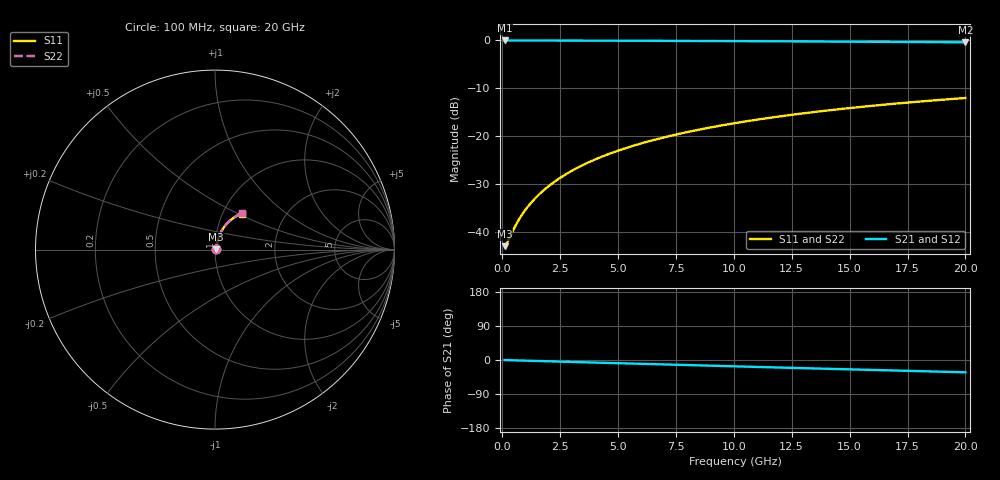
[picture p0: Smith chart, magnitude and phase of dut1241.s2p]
! Touchstone file exported from HFSS 2026.1.0
!  File:  C:/ffzhzh/LocalFiles/Ansys_Project_Files/temp_train_TMRDL_1241_1783163678_18472.aedt
!  Generated:  07:15:45 PM Jul  4, 2026
!  Design:  TMRDL
!  Project:  temp_train_TMRDL_1241_1783163678_18472
! Variables:
!  h_bsmrdl = 2um
!  h_ox = 20um
!  h_rdl = 5um
!  h_sub = 80um
!  h_tmrdl = 2.58um
!  h_tsv = 80um
!  h_via = 3um
!  l_bsmrdl = 300um
!  l_sub = 923.82um
!  l_tmrdl = 523.82um
!  m_sub = 200um
!  pitch = 19.35um
!  r_tsv = 6um
!  s_tmrdl = 10um
!  w_bsmrdl = 18um
!  w_sub = 500um
!  w_tmrdl = 10.29um
!  x_tsv_center1 = 528.965um
!  x_tsv_center2 = 846.965um
!  x_tsv_center3 = 1381.075um
!  x_tsv_center4 = 1699.075um
!  x_tsv_center5 = 2233.185um
!  x_tsv_center6 = 2551.185um
# GHz S MA R 50.000000
! Terminal data exported
! Port[1] = TM_RDL1_1_T1
! Port[2] = TM_RDL1_1_T2
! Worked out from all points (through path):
!   200 points, 100 MHz to 20 GHz, reference 50 ohm
!   highest |S21| = -0.06 dB at 100 MHz (marker M1); lowest = -0.4 dB at 20 GHz (marker M2)
!   group delay of S21, straight-line fit = 4.51 ps
!   lowest |S11| = -42.8 dB at 100 MHz (marker M3), VSWR 1.01, Z = 50.7 + j0.164 ohm
!   |S11| at or under -10 dB: start of sweep to end of sweep
!   |S22| runs from -42.8 to -12.0 dB; largest |S21 - S12| = 3e-15
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0.1  0.007207 13.0  0.993 -0.2  0.993 -0.2  0.007207 13.0
! Gamma 0 0 0 0
! Port Impedance 50 0 50 0
0.2  0.007806 24.4  0.9929 -0.4  0.9929 -0.4  0.007806 24.4
0.6  0.01215 50.0  0.9923 -1.1  0.9923 -1.1  0.01215 50.0
0.8  0.01467 55.9  0.992 -1.4  0.992 -1.4  0.01467 55.9
0.9  0.01595 58.1  0.9918 -1.6  0.9918 -1.6  0.01595 58.1
1.1  0.01852 61.5  0.9916 -1.9  0.9916 -1.9  0.01852 61.5
1.4  0.02242 65.1  0.9912 -2.4  0.9912 -2.4  0.02241 65.2
1.8  0.02767 68.3  0.9909 -3.1  0.9909 -3.1  0.02767 68.3
2.3  0.03433 70.8  0.9904 -3.9  0.9904 -3.9  0.03433 70.8
2.9  0.04242 72.4  0.9899 -4.9  0.9899 -4.9  0.04241 72.4
3.5  0.05056 73.2  0.9893 -6.0  0.9893 -6.0  0.05055 73.2
4.2  0.06007 73.5  0.9885 -7.1  0.9885 -7.1  0.06006 73.5
5  0.07092 73.3  0.9874 -8.5  0.9874 -8.5  0.07091 73.4
5.9  0.08305 72.7  0.986 -10.0  0.986 -10.0  0.08304 72.8
6.8  0.09508 71.9  0.9845 -11.5  0.9845 -11.5  0.09506 71.9
8.3  0.1148 70.1  0.9816 -13.9  0.9816 -13.9  0.1148 70.2
10.1  0.1379 67.7  0.9777 -16.9  0.9777 -16.9  0.1378 67.8
11.7  0.1577 65.5  0.9737 -19.5  0.9737 -19.5  0.1577 65.6
13.4  0.1782 63.0  0.9693 -22.2  0.9693 -22.2  0.1781 63.1
15  0.1968 60.7  0.9648 -24.7  0.9648 -24.7  0.1967 60.8
16.7  0.2158 58.2  0.9599 -27.4  0.9599 -27.4  0.2157 58.3
20  0.2505 53.3  0.95 -32.5  0.95 -32.5  0.2505 53.5
